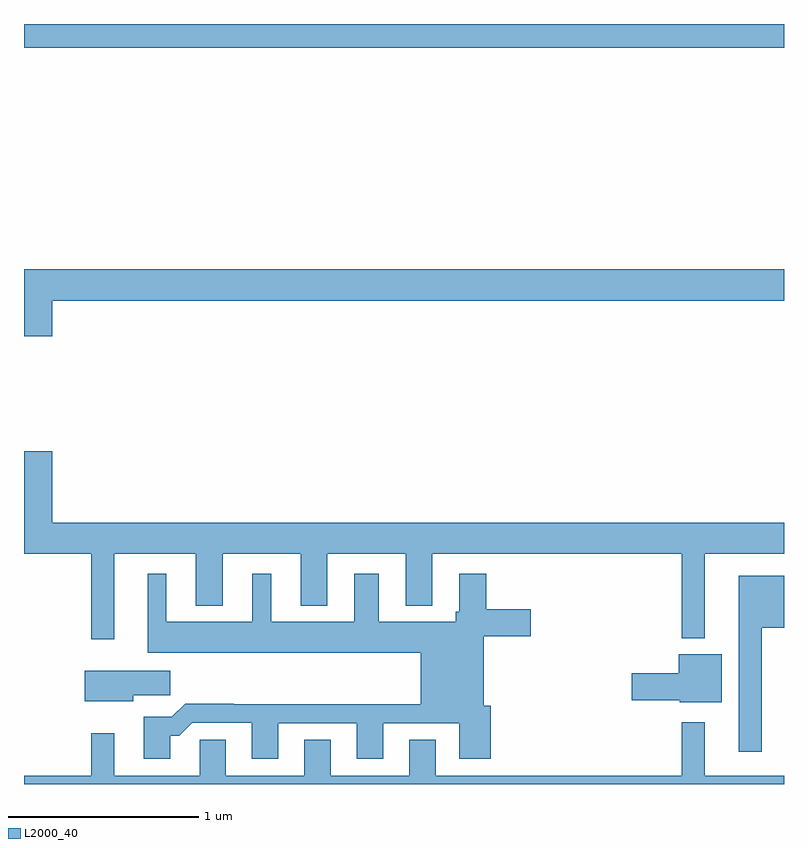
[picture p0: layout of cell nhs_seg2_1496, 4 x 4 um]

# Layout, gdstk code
import gdstk
lib = gdstk.Library(unit=1e-6, precision=1e-09)
def R(c, l, rs):  # rectangles x0, y0, x1, y1
    for r in rs: c.add(gdstk.rectangle(r[:2], r[2:], *l))
def P(c, l, *ps):  # polygons
    for p in ps: c.add(gdstk.Polygon(p, *l))
L2000_40 = (2000, 40)

nhs_seg2_1496 = lib.new_cell('nhs_seg2_1496')
R(nhs_seg2_1496, L2000_40, [(189,607.676,193,607.8)])
P(nhs_seg2_1496, L2000_40, [(189.148,606.344),(193,606.344),(193,606.508),(189,606.508),(189,606.156),(189.148,606.156)],
  [(189.475,605.012),(189.905,605.012),(189.905,604.739),(190.045,604.739),(190.045,605.012),(190.457,605.012),(190.457,604.739),(190.597,604.739),(190.597,605.012),(191.009,605.012),(191.009,604.739),(191.149,604.739),(191.149,605.012),(192.462,605.012),(192.462,604.568),(192.583,604.568),(192.583,605.012),(193,605.012),(193,605.176),(189.148,605.176),(189.148,605.551),(189,605.551),(189,605.012),(189.354,605.012),(189.354,604.563),(189.475,604.563)],
  [(189.769,604.055),(189.818,604.055),(189.885,604.122),(190.199,604.122),(190.199,603.933),(190.339,603.933),(190.339,604.119),(190.751,604.119),(190.751,603.933),(190.891,603.933),(190.891,604.119),(191.291,604.119),(191.291,603.933),(191.456,603.933),(191.456,604.212),(191.419,604.212),(191.419,604.577),(191.668,604.577),(191.668,604.719),(191.432,604.719),(191.432,604.906),(191.291,604.906),(191.291,604.707),(191.272,604.707),(191.272,604.654),(190.867,604.654),(190.867,604.906),(190.739,604.906),(190.739,604.654),(190.3,604.654),(190.3,604.906),(190.202,604.906),(190.202,604.654),(189.748,604.654),(189.748,604.906),(189.65,604.906),(189.65,604.49),(191.087,604.49),(191.087,604.22),(190.103,604.22),(190.103,604.223),(189.848,604.223),(189.778,604.153),(189.629,604.153),(189.629,603.933),(189.769,603.933)],
  [(192.883,604.622),(193,604.622),(193,604.897),(192.761,604.897),(192.761,603.969),(192.883,603.969)],
  [(192.673,604.483),(192.446,604.483),(192.446,604.382),(192.198,604.382),(192.198,604.24),(192.45,604.24),(192.45,604.229),(192.673,604.229)],
  [(189.574,604.267),(189.769,604.267),(189.769,604.396),(189.32,604.396),(189.32,604.235),(189.574,604.235)],
  [(193,603.844),(192.583,603.844),(192.583,604.126),(192.462,604.126),(192.462,603.844),(191.167,603.844),(191.167,604.034),(191.027,604.034),(191.027,603.844),(190.615,603.844),(190.615,604.034),(190.475,604.034),(190.475,603.844),(190.063,603.844),(190.063,604.034),(189.924,604.034),(189.924,603.844),(189.475,603.844),(189.475,604.066),(189.354,604.066),(189.354,603.844),(189,603.844),(189,603.8),(193,603.8)])

lib.write_gds('nhs_seg2_1496.gds')
